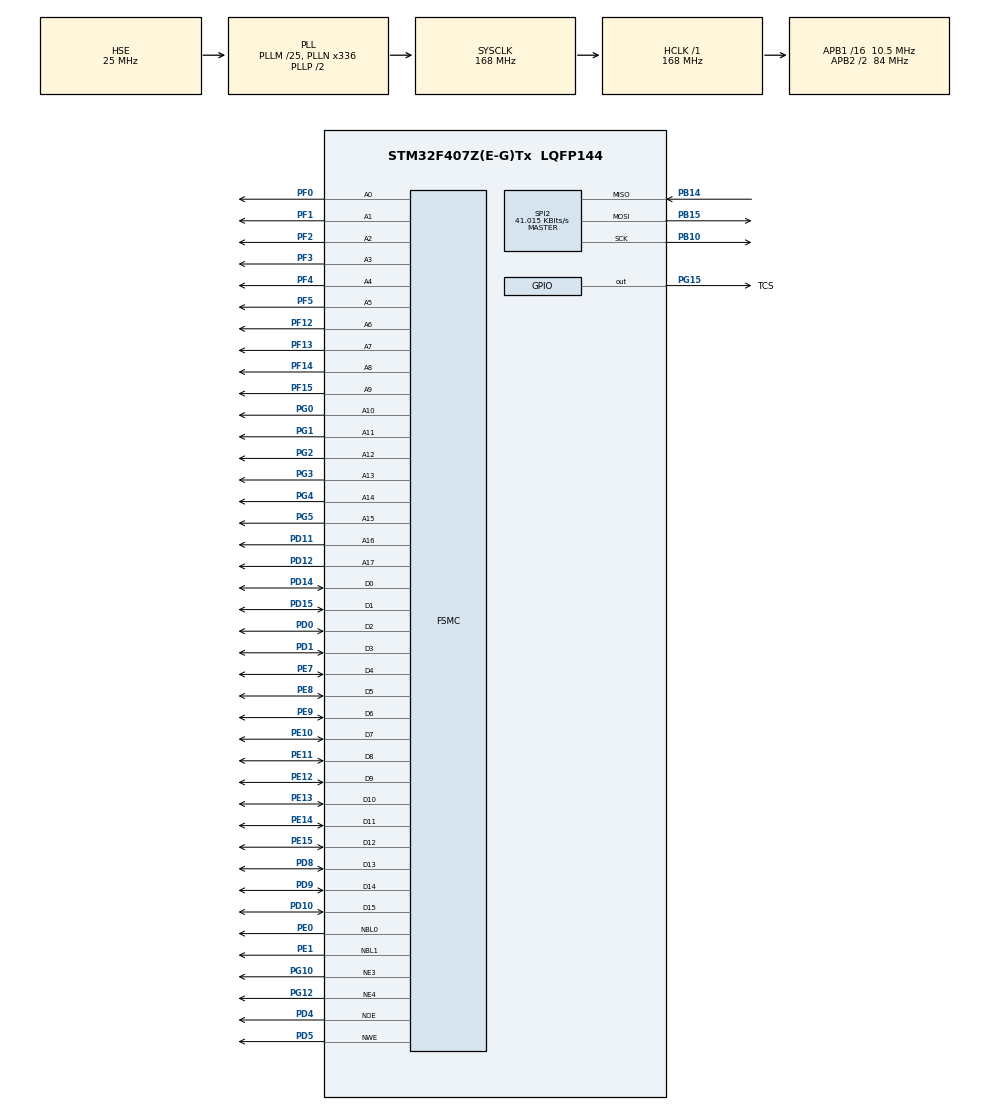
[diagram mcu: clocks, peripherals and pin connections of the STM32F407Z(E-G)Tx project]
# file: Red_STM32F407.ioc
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FREERTOS.Tasks01=TouchUpdateTask,2,128,StartTouchUpdateTask,Default,NULL,Dynamic,NULL,NULL
FSMC.AddressSetupTime3=3
FSMC.AddressSetupTime4=5
FSMC.BusTurnAroundDuration3=1
FSMC.BusTurnAroundDuration4=0
FSMC.DataSetupTime3=4
FSMC.DataSetupTime4=9
FSMC.ExtendedMode3=FSMC_EXTENDED_MODE_DISABLE
FSMC.MemoryType3=FSMC_MEMORY_TYPE_SRAM
FSMC.WriteOperation3=FSMC_WRITE_OPERATION_ENABLE
Mcu.Family=STM32F4
Mcu.Name=STM32F407Z(E-G)Tx
Mcu.Package=LQFP144
NVIC.PriorityGroup=NVIC_PRIORITYGROUP_4
PA13.Mode=Serial_Wire
PA13.Signal=SYS_JTMS-SWDIO
PA14.Mode=Serial_Wire
PA14.Signal=SYS_JTCK-SWCLK
PB10.Mode=Full_Duplex_Master
PB10.Signal=SPI2_SCK
PB14.Mode=Full_Duplex_Master
PB14.Signal=SPI2_MISO
PB15.Mode=Full_Duplex_Master
PB15.Signal=SPI2_MOSI
PD0.Signal=FSMC_D2_DA2
PD1.Signal=FSMC_D3_DA3
PD10.Signal=FSMC_D15_DA15
PD11.Signal=FSMC_A16_CLE
PD12.Signal=FSMC_A17_ALE
PD14.Signal=FSMC_D0_DA0
PD15.Signal=FSMC_D1_DA1
PD4.Signal=FSMC_NOE
PD5.Signal=FSMC_NWE
PD8.Signal=FSMC_D13_DA13
PD9.Signal=FSMC_D14_DA14
PE0.Signal=FSMC_NBL0
PE1.Signal=FSMC_NBL1
PE10.Signal=FSMC_D7_DA7
PE11.Signal=FSMC_D8_DA8
PE12.Signal=FSMC_D9_DA9
PE13.Signal=FSMC_D10_DA10
PE14.Signal=FSMC_D11_DA11
PE15.Signal=FSMC_D12_DA12
PE7.Signal=FSMC_D4_DA4
PE8.Signal=FSMC_D5_DA5
PE9.Signal=FSMC_D6_DA6
PF0.Signal=FSMC_A0
PF1.Signal=FSMC_A1
PF12.Signal=FSMC_A6
PF13.Signal=FSMC_A7
PF14.Signal=FSMC_A8
PF15.Signal=FSMC_A9
PF2.Signal=FSMC_A2
PF3.Signal=FSMC_A3
PF4.Signal=FSMC_A4
PF5.Signal=FSMC_A5
PG0.Signal=FSMC_A10
PG1.Signal=FSMC_A11
PG10.Mode=NorPsramChipSelect3_3
PG10.Signal=FSMC_NE3
PG12.Mode=NorPsramChipSelect4_4
PG12.Signal=FSMC_NE4
PG15.GPIO_Label=TCS
PG15.Signal=GPIO_Output
PG2.Signal=FSMC_A12
PG3.Signal=FSMC_A13
PG4.Signal=FSMC_A14
PG5.Signal=FSMC_A15
PH0-OSC_IN.Mode=HSE-External-Oscillator
PH0-OSC_IN.Signal=RCC_OSC_IN
PH1-OSC_OUT.Mode=HSE-External-Oscillator
PH1-OSC_OUT.Signal=RCC_OSC_OUT
ProjectManager.HeapSize=0x200
ProjectManager.StackSize=0x400
ProjectManager.TargetToolchain=MDK-ARM V5
RCC.48MHZClocksFreq_Value=84000000
RCC.AHBFreq_Value=168000000
RCC.APB1CLKDivider=RCC_HCLK_DIV16
RCC.APB1Freq_Value=10500000
RCC.APB1TimFreq_Value=21000000
RCC.APB2CLKDivider=RCC_HCLK_DIV2
RCC.APB2Freq_Value=84000000
RCC.APB2TimFreq_Value=168000000
RCC.CortexFreq_Value=168000000
RCC.HCLKFreq_Value=168000000
RCC.HSE_VALUE=25000000
RCC.HSI_VALUE=16000000
RCC.LSE_VALUE=32768
RCC.PLLM=25
RCC.PLLN=336
RCC.PLLSourceVirtual=RCC_PLLSOURCE_HSE
RCC.SYSCLKFreq_VALUE=168000000
RCC.SYSCLKSource=RCC_SYSCLKSOURCE_PLLCLK
RCC.VCOOutputFreq_Value=336000000
SH.FSMC_A0.0=FSMC_A0,A0_4
SH.FSMC_A0.1=FSMC_A0,18b-a3
SH.FSMC_A1.0=FSMC_A1,18b-a3
SH.FSMC_A10.0=FSMC_A10,18b-a3
SH.FSMC_A11.0=FSMC_A11,18b-a3
SH.FSMC_A12.0=FSMC_A12,18b-a3
SH.FSMC_A13.0=FSMC_A13,18b-a3
SH.FSMC_A14.0=FSMC_A14,18b-a3
SH.FSMC_A15.0=FSMC_A15,18b-a3
SH.FSMC_A16_CLE.0=FSMC_A16,18b-a3
SH.FSMC_A17_ALE.0=FSMC_A17,18b-a3
SH.FSMC_A2.0=FSMC_A2,18b-a3
SH.FSMC_A3.0=FSMC_A3,18b-a3
SH.FSMC_A4.0=FSMC_A4,18b-a3
SH.FSMC_A5.0=FSMC_A5,18b-a3
SH.FSMC_A6.0=FSMC_A6,18b-a3
SH.FSMC_A7.0=FSMC_A7,18b-a3
SH.FSMC_A8.0=FSMC_A8,18b-a3
SH.FSMC_A9.0=FSMC_A9,18b-a3
SH.FSMC_D0_DA0.0=FSMC_D0,16b-d4
SH.FSMC_D0_DA0.1=FSMC_D0,16b-d3
SH.FSMC_D10_DA10.0=FSMC_D10,16b-d4
SH.FSMC_D10_DA10.1=FSMC_D10,16b-d3
SH.FSMC_D11_DA11.0=FSMC_D11,16b-d4
SH.FSMC_D11_DA11.1=FSMC_D11,16b-d3
SH.FSMC_D12_DA12.0=FSMC_D12,16b-d4
SH.FSMC_D12_DA12.1=FSMC_D12,16b-d3
SH.FSMC_D13_DA13.0=FSMC_D13,16b-d4
SH.FSMC_D13_DA13.1=FSMC_D13,16b-d3
SH.FSMC_D14_DA14.0=FSMC_D14,16b-d4
SH.FSMC_D14_DA14.1=FSMC_D14,16b-d3
SH.FSMC_D15_DA15.0=FSMC_D15,16b-d4
SH.FSMC_D15_DA15.1=FSMC_D15,16b-d3
SH.FSMC_D1_DA1.0=FSMC_D1,16b-d4
SH.FSMC_D1_DA1.1=FSMC_D1,16b-d3
SH.FSMC_D2_DA2.0=FSMC_D2,16b-d4
SH.FSMC_D2_DA2.1=FSMC_D2,16b-d3
SH.FSMC_D3_DA3.0=FSMC_D3,16b-d4
SH.FSMC_D3_DA3.1=FSMC_D3,16b-d3
SH.FSMC_D4_DA4.0=FSMC_D4,16b-d4
SH.FSMC_D4_DA4.1=FSMC_D4,16b-d3
SH.FSMC_D5_DA5.0=FSMC_D5,16b-d4
SH.FSMC_D5_DA5.1=FSMC_D5,16b-d3
SH.FSMC_D6_DA6.0=FSMC_D6,16b-d4
SH.FSMC_D6_DA6.1=FSMC_D6,16b-d3
SH.FSMC_D7_DA7.0=FSMC_D7,16b-d4
SH.FSMC_D7_DA7.1=FSMC_D7,16b-d3
SH.FSMC_D8_DA8.0=FSMC_D8,16b-d4
SH.FSMC_D8_DA8.1=FSMC_D8,16b-d3
SH.FSMC_D9_DA9.0=FSMC_D9,16b-d4
SH.FSMC_D9_DA9.1=FSMC_D9,16b-d3
SH.FSMC_NBL0.0=FSMC_NBL0,2ByteEnable3
SH.FSMC_NBL1.0=FSMC_NBL1,2ByteEnable3
SH.FSMC_NOE.0=FSMC_NOE,Lcd4
SH.FSMC_NOE.1=FSMC_NOE,Sram3
SH.FSMC_NWE.0=FSMC_NWE,Lcd4
SH.FSMC_NWE.1=FSMC_NWE,Sram3
SPI2.BaudRatePrescaler=SPI_BAUDRATEPRESCALER_256
SPI2.CLKPhase=SPI_PHASE_2EDGE
SPI2.CLKPolarity=SPI_POLARITY_HIGH
SPI2.CalculateBaudRate=41.015 KBits/s
SPI2.Direction=SPI_DIRECTION_2LINES
SPI2.Mode=SPI_MODE_MASTER
SPI2.VirtualType=VM_MASTER
VP_CRC_VS_CRC.Mode=CRC_Activate
VP_FREERTOS_VS_ENABLE.Mode=Enabled
board=Red_STM32F407

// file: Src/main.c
/**
  ******************************************************************************
  * @file           : main.c
  * @brief          : Main program body
  ******************************************************************************
  * This notice applies to any and all portions of this file
  * that are not between comment pairs USER CODE BEGIN and
  * USER CODE END. Other portions of this file, whether
  * inserted by the user or by software development tools
  * are owned by their respective copyright owners.
  *
  * Copyright (c) 2018 STMicroelectronics International N.V.
  * All rights reserved.
  *
  * Redistribution and use in source and binary forms, with or without
  * modification, are permitted, provided that the following conditions are met:
  *
  * 1. Redistribution of source code must retain the above copyright notice,
  *    this list of conditions and the following disclaimer.
  * 2. Redistributions in binary form must reproduce the above copyright notice,
  *    this list of conditions and the following disclaimer in the documentation
  *    and/or other materials provided with the distribution.
  * 3. Neither the name of STMicroelectronics nor the names of other
  *    contributors to this software may be used to endorse or promote products
  *    derived from this software without specific written permission.
  * 4. This software, including modifications and/or derivative works of this
  *    software, must execute solely and exclusively on microcontroller or
  *    microprocessor devices manufactured by or for STMicroelectronics.
  * 5. Redistribution and use of this software other than as permitted under
  *    this license is void and will automatically terminate your rights under
  *    this license.
  *
  * THIS SOFTWARE IS PROVIDED BY STMICROELECTRONICS AND CONTRIBUTORS "AS IS"
  * AND ANY EXPRESS, IMPLIED OR STATUTORY WARRANTIES, INCLUDING, BUT NOT
  * LIMITED TO, THE IMPLIED WARRANTIES OF MERCHANTABILITY, FITNESS FOR A
  * PARTICULAR PURPOSE AND NON-INFRINGEMENT OF THIRD PARTY INTELLECTUAL PROPERTY
  * RIGHTS ARE DISCLAIMED TO THE FULLEST EXTENT PERMITTED BY LAW. IN NO EVENT
  * SHALL STMICROELECTRONICS OR CONTRIBUTORS BE LIABLE FOR ANY DIRECT, INDIRECT,
  * INCIDENTAL, SPECIAL, EXEMPLARY, OR CONSEQUENTIAL DAMAGES (INCLUDING, BUT NOT
  * LIMITED TO, PROCUREMENT OF SUBSTITUTE GOODS OR SERVICES; LOSS OF USE, DATA,
  * OR PROFITS; OR BUSINESS INTERRUPTION) HOWEVER CAUSED AND ON ANY THEORY OF
  * LIABILITY, WHETHER IN CONTRACT, STRICT LIABILITY, OR TORT (INCLUDING
  * NEGLIGENCE OR OTHERWISE) ARISING IN ANY WAY OUT OF THE USE OF THIS SOFTWARE,
  * EVEN IF ADVISED OF THE POSSIBILITY OF SUCH DAMAGE.
  *
  ******************************************************************************
  */
#include "main.h"
#include "stm32f4xx_hal.h"
#include "cmsis_os.h"

/* USER CODE BEGIN Includes */
#include "GUI.h"
#include "ili9481LCD.h"
#include "k_bsp.h"
#include "k_calibration.h"
#include "k_module.h"
/* USER CODE END Includes */

CRC_HandleTypeDef hcrc;

SPI_HandleTypeDef hspi2;

SRAM_HandleTypeDef hsram3;
SRAM_HandleTypeDef hsram4;

osThreadId TouchUpdateTaskHandle;

/* USER CODE BEGIN PV */
/* Private variables ---------------------------------------------------------*/
uint32_t GUI_FreeMem = 0;

/* USER CODE END PV */

void SystemClock_Config(void);
static void MX_GPIO_Init(void);
static void MX_FSMC_Init(void);
static void MX_CRC_Init(void);
static void MX_SPI2_Init(void);
void StartTouchUpdateTask(void const * argument);

/* USER CODE BEGIN PFP */
/* Private function prototypes -----------------------------------------------*/
static void GUIThread(void const * argument);

/* USER CODE END PFP */

int main(void)
{

  /* MCU Configuration----------------------------------------------------------*/

  /* Reset of all peripherals, Initializes the Flash interface and the Systick. */
  HAL_Init();

  /* Configure the system clock */
  SystemClock_Config();

  /* Initialize all configured peripherals */
  MX_GPIO_Init();
  MX_FSMC_Init();
  MX_CRC_Init();
  MX_SPI2_Init();
  /* USER CODE BEGIN 2 */

  k_BspInit();

  LCD_Init();
  /* Init the STemWin GUI Library */
  GUI_Init();
  /* Create GUI task */
  osThreadDef(GUI_Thread, GUIThread, osPriorityAboveNormal, 0, 1024);
  osThreadCreate (osThread(GUI_Thread), NULL);

  /* USER CODE END 2 */

  /* USER CODE BEGIN RTOS_TIMERS */
  /* start timers, add new ones, ... */

  //osTimerDef(MouseUpdate,MouseUpdateCB);

  /* USER CODE END RTOS_TIMERS */

  /* Create the thread(s) */
  /* definition and creation of TouchUpdateTask */
  osThreadDef(TouchUpdateTask, StartTouchUpdateTask, osPriorityHigh, 0, 128);
  TouchUpdateTaskHandle = osThreadCreate(osThread(TouchUpdateTask), NULL);

  /* Start scheduler */
  osKernelStart();

  /* We should never get here as control is now taken by the scheduler */

  /* Infinite loop */
  while (1)
  {

  }

}

void SystemClock_Config(void)
{

  RCC_OscInitTypeDef RCC_OscInitStruct;
  RCC_ClkInitTypeDef RCC_ClkInitStruct;

    /**Configure the main internal regulator output voltage
    */
  __HAL_RCC_PWR_CLK_ENABLE();

  __HAL_PWR_VOLTAGESCALING_CONFIG(PWR_REGULATOR_VOLTAGE_SCALE1);

    /**Initializes the CPU, AHB and APB busses clocks
    */
  RCC_OscInitStruct.OscillatorType = RCC_OSCILLATORTYPE_HSE;
  RCC_OscInitStruct.HSEState = RCC_HSE_ON;
  RCC_OscInitStruct.PLL.PLLState = RCC_PLL_ON;
  RCC_OscInitStruct.PLL.PLLSource = RCC_PLLSOURCE_HSE;
  RCC_OscInitStruct.PLL.PLLM = 25;
  RCC_OscInitStruct.PLL.PLLN = 336;
  RCC_OscInitStruct.PLL.PLLP = RCC_PLLP_DIV2;
  RCC_OscInitStruct.PLL.PLLQ = 4;
  if (HAL_RCC_OscConfig(&RCC_OscInitStruct) != HAL_OK)
  {
    _Error_Handler(__FILE__, __LINE__);
  }

    /**Initializes the CPU, AHB and APB busses clocks
    */
  RCC_ClkInitStruct.ClockType = RCC_CLOCKTYPE_HCLK|RCC_CLOCKTYPE_SYSCLK
                              |RCC_CLOCKTYPE_PCLK1|RCC_CLOCKTYPE_PCLK2;
  RCC_ClkInitStruct.SYSCLKSource = RCC_SYSCLKSOURCE_PLLCLK;
  RCC_ClkInitStruct.AHBCLKDivider = RCC_SYSCLK_DIV1;
  RCC_ClkInitStruct.APB1CLKDivider = RCC_HCLK_DIV16;
  RCC_ClkInitStruct.APB2CLKDivider = RCC_HCLK_DIV2;

  if (HAL_RCC_ClockConfig(&RCC_ClkInitStruct, FLASH_LATENCY_5) != HAL_OK)
  {
    _Error_Handler(__FILE__, __LINE__);
  }

    /**Configure the Systick interrupt time
    */
  HAL_SYSTICK_Config(HAL_RCC_GetHCLKFreq()/1000);

    /**Configure the Systick
    */
  HAL_SYSTICK_CLKSourceConfig(SYSTICK_CLKSOURCE_HCLK);

  /* SysTick_IRQn interrupt configuration */
  HAL_NVIC_SetPriority(SysTick_IRQn, 15, 0);
}

/* CRC init function */
static void MX_CRC_Init(void)
{

  hcrc.Instance = CRC;
  if (HAL_CRC_Init(&hcrc) != HAL_OK)
  {
    _Error_Handler(__FILE__, __LINE__);
  }

}

/* SPI2 init function */
static void MX_SPI2_Init(void)
{

  /* SPI2 parameter configuration*/
  hspi2.Instance = SPI2;
  hspi2.Init.Mode = SPI_MODE_MASTER;
  hspi2.Init.Direction = SPI_DIRECTION_2LINES;
  hspi2.Init.DataSize = SPI_DATASIZE_8BIT;
  hspi2.Init.CLKPolarity = SPI_POLARITY_HIGH;
  hspi2.Init.CLKPhase = SPI_PHASE_2EDGE;
  hspi2.Init.NSS = SPI_NSS_SOFT;
  hspi2.Init.BaudRatePrescaler = SPI_BAUDRATEPRESCALER_256;
  hspi2.Init.FirstBit = SPI_FIRSTBIT_MSB;
  hspi2.Init.TIMode = SPI_TIMODE_DISABLE;
  hspi2.Init.CRCCalculation = SPI_CRCCALCULATION_DISABLE;
  hspi2.Init.CRCPolynomial = 10;
  if (HAL_SPI_Init(&hspi2) != HAL_OK)
  {
    _Error_Handler(__FILE__, __LINE__);
  }

}

/** Configure pins as
        * Analog
        * Input
        * Output
        * EVENT_OUT
        * EXTI
*/
static void MX_GPIO_Init(void)
{

  GPIO_InitTypeDef GPIO_InitStruct;

  /* GPIO Ports Clock Enable */
  __HAL_RCC_GPIOF_CLK_ENABLE();
  __HAL_RCC_GPIOH_CLK_ENABLE();
  __HAL_RCC_GPIOG_CLK_ENABLE();
  __HAL_RCC_GPIOE_CLK_ENABLE();
  __HAL_RCC_GPIOB_CLK_ENABLE();
  __HAL_RCC_GPIOD_CLK_ENABLE();
  __HAL_RCC_GPIOA_CLK_ENABLE();

  /*Configure GPIO pin Output Level */
  HAL_GPIO_WritePin(TCS_GPIO_Port, TCS_Pin, GPIO_PIN_RESET);

  /*Configure GPIO pin : TCS_Pin */
  GPIO_InitStruct.Pin = TCS_Pin;
  GPIO_InitStruct.Mode = GPIO_MODE_OUTPUT_PP;
  GPIO_InitStruct.Pull = GPIO_NOPULL;
  GPIO_InitStruct.Speed = GPIO_SPEED_FREQ_LOW;
  HAL_GPIO_Init(TCS_GPIO_Port, &GPIO_InitStruct);

}

/* FSMC initialization function */
static void MX_FSMC_Init(void)
{
  FSMC_NORSRAM_TimingTypeDef Timing;

  /** Perform the SRAM3 memory initialization sequence
  */
  hsram3.Instance = FSMC_NORSRAM_DEVICE;
  hsram3.Extended = FSMC_NORSRAM_EXTENDED_DEVICE;
  /* hsram3.Init */
  hsram3.Init.NSBank = FSMC_NORSRAM_BANK3;
  hsram3.Init.DataAddressMux = FSMC_DATA_ADDRESS_MUX_DISABLE;
  hsram3.Init.MemoryType = FSMC_MEMORY_TYPE_SRAM;
  hsram3.Init.MemoryDataWidth = FSMC_NORSRAM_MEM_BUS_WIDTH_16;
  hsram3.Init.BurstAccessMode = FSMC_BURST_ACCESS_MODE_DISABLE;
  hsram3.Init.WaitSignalPolarity = FSMC_WAIT_SIGNAL_POLARITY_LOW;
  hsram3.Init.WrapMode = FSMC_WRAP_MODE_DISABLE;
  hsram3.Init.WaitSignalActive = FSMC_WAIT_TIMING_BEFORE_WS;
  hsram3.Init.WriteOperation = FSMC_WRITE_OPERATION_ENABLE;
  hsram3.Init.WaitSignal = FSMC_WAIT_SIGNAL_DISABLE;
  hsram3.Init.ExtendedMode = FSMC_EXTENDED_MODE_DISABLE;
  hsram3.Init.AsynchronousWait = FSMC_ASYNCHRONOUS_WAIT_DISABLE;
  hsram3.Init.WriteBurst = FSMC_WRITE_BURST_DISABLE;
  hsram3.Init.PageSize = FSMC_PAGE_SIZE_NONE;
  /* Timing */
  Timing.AddressSetupTime = 3;
  Timing.AddressHoldTime = 15;
  Timing.DataSetupTime = 4;
  Timing.BusTurnAroundDuration = 1;
  Timing.CLKDivision = 16;
  Timing.DataLatency = 17;
  Timing.AccessMode = FSMC_ACCESS_MODE_A;
  /* ExtTiming */

  if (HAL_SRAM_Init(&hsram3, &Timing, NULL) != HAL_OK)
  {
    _Error_Handler(__FILE__, __LINE__);
  }

  /** Perform the SRAM4 memory initialization sequence
  */
  hsram4.Instance = FSMC_NORSRAM_DEVICE;
  hsram4.Extended = FSMC_NORSRAM_EXTENDED_DEVICE;
  /* hsram4.Init */
  hsram4.Init.NSBank = FSMC_NORSRAM_BANK4;
  hsram4.Init.DataAddressMux = FSMC_DATA_ADDRESS_MUX_DISABLE;
  hsram4.Init.MemoryType = FSMC_MEMORY_TYPE_SRAM;
  hsram4.Init.MemoryDataWidth = FSMC_NORSRAM_MEM_BUS_WIDTH_16;
  hsram4.Init.BurstAccessMode = FSMC_BURST_ACCESS_MODE_DISABLE;
  hsram4.Init.WaitSignalPolarity = FSMC_WAIT_SIGNAL_POLARITY_LOW;
  hsram4.Init.WrapMode = FSMC_WRAP_MODE_DISABLE;
  hsram4.Init.WaitSignalActive = FSMC_WAIT_TIMING_BEFORE_WS;
  hsram4.Init.WriteOperation = FSMC_WRITE_OPERATION_ENABLE;
  hsram4.Init.WaitSignal = FSMC_WAIT_SIGNAL_DISABLE;
  hsram4.Init.ExtendedMode = FSMC_EXTENDED_MODE_DISABLE;
  hsram4.Init.AsynchronousWait = FSMC_ASYNCHRONOUS_WAIT_DISABLE;
  hsram4.Init.WriteBurst = FSMC_WRITE_BURST_DISABLE;
  hsram4.Init.PageSize = FSMC_PAGE_SIZE_NONE;
  /* Timing */
  Timing.AddressSetupTime = 5;
  Timing.AddressHoldTime = 15;
  Timing.DataSetupTime = 9;
  Timing.BusTurnAroundDuration = 0;
  Timing.CLKDivision = 16;
  Timing.DataLatency = 17;
  Timing.AccessMode = FSMC_ACCESS_MODE_A;
  /* ExtTiming */

  if (HAL_SRAM_Init(&hsram4, &Timing, NULL) != HAL_OK)
  {
    _Error_Handler(__FILE__, __LINE__);
  }

}

/* USER CODE BEGIN 4 */
static void GUIThread(void const * argument)
{
  /* Check for calibration */
  if(k_CalibrationIsDone() == 0)
  {
		 osDelay(20);
    k_CalibrationInit();
  }

  /* Demo Startup */
  k_StartUp();

  /* Show the main menu */
  k_InitMenu();

  /* Gui background Task */
  while(1) {
    GUI_Exec(); /* Do the background work ... Update windows etc.) */
    osDelay(20); /* Nothing left to do for the moment ... Idle processing */
    GUI_FreeMem = GUI_ALLOC_GetNumFreeBytes();

  }
}

/* USER CODE END 4 */

/* StartTouchUpdateTask function */
void StartTouchUpdateTask(void const * argument)
{

  /* USER CODE BEGIN 5 */
  /* Infinite loop */
  for(;;)
  {
	k_TouchUpdate();
    osDelay(40);
  }
  /* USER CODE END 5 */
}

void _Error_Handler(char *file, int line)
{
  while(1)
  {
  }
}

/************************ (C) COPYRIGHT STMicroelectronics *****END OF FILE****/
